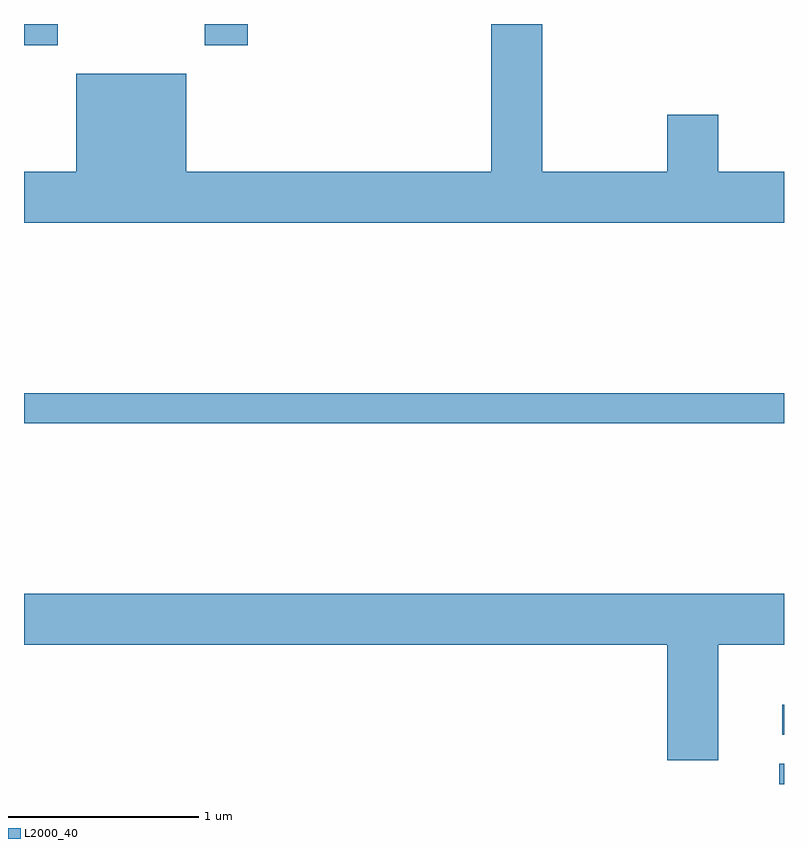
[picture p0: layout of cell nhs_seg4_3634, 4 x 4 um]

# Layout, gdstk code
import gdstk
lib = gdstk.Library(unit=1e-6, precision=1e-09)
def R(c, l, rs):  # rectangles x0, y0, x1, y1
    for r in rs: c.add(gdstk.rectangle(r[:2], r[2:], *l))
def P(c, l, *ps):  # polygons
    for p in ps: c.add(gdstk.Polygon(p, *l))
L2000_40 = (2000, 40)

nhs_seg4_3634 = lib.new_cell('nhs_seg4_3634')
R(nhs_seg4_3634, L2000_40, [(295.586,1313.982,295.611,1314.089), (295.603,1314.241,295.611,1314.399), (291.611,1315.881,295.611,1316.039), (291.611,1317.871,291.789,1317.982), (292.561,1317.871,292.789,1317.982)])
P(nhs_seg4_3634, L2000_40, [(295.611,1317.204),(295.264,1317.204),(295.264,1317.504),(294.996,1317.504),(294.996,1317.204),(294.339,1317.204),(294.339,1317.982),(294.071,1317.982),(294.071,1317.204),(292.464,1317.204),(292.464,1317.719),(291.886,1317.719),(291.886,1317.204),(291.611,1317.204),(291.611,1316.936),(295.611,1316.936)],
  [(295.264,1314.716),(295.611,1314.716),(295.611,1314.984),(291.611,1314.984),(291.611,1314.716),(294.996,1314.716),(294.996,1314.106),(295.264,1314.106)])

lib.write_gds('nhs_seg4_3634.gds')
